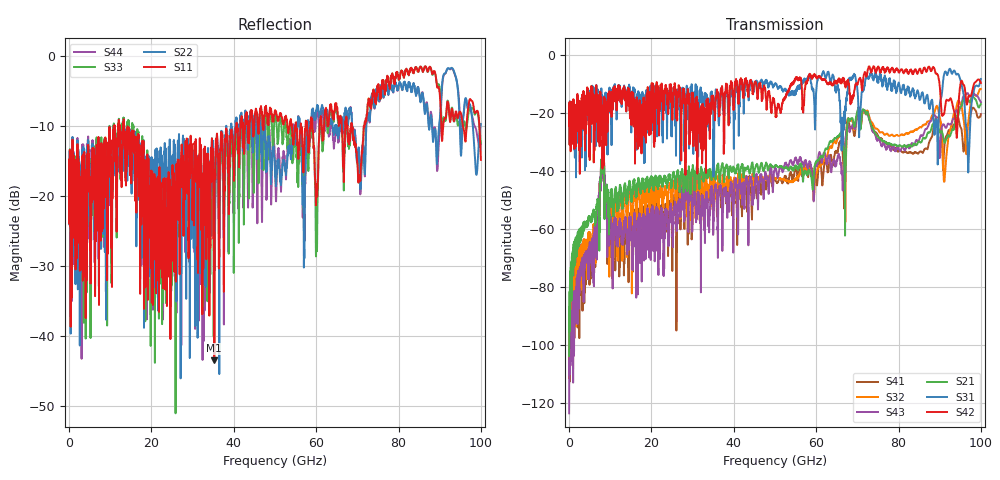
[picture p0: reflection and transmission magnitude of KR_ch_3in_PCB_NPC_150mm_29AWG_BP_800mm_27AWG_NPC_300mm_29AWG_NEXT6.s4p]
# GHz S RI R 45
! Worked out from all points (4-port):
!   4000 points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, 25 MHz to 100 GHz, reference 45 ohm
!   strongest paths, dB at 25 MHz, 25.02 GHz, 50.02 GHz, 75.03 GHz, 100 GHz:
!     S42: -21.3, -17.5, -18.0, -4.3, -9.8
!     S31: -21.3, -21.0, -10.2, -8.9, -8.4
!     S21: -103.8, -43.7, -38.2, -28.3, -17.0
!     S43: -123.6, -58.5, -39.1, -29.6, -16.4
!     S32: -108.9, -53.0, -42.7, -25.9, -11.9
!     S41: -111.4, -67.8, -43.2, -28.0, -20.5
!   lowest |S11| = -43.5 dB at 35.27 GHz (marker M1), VSWR 1.01, Z = 44.4 - j0.0041 ohm
!   |S11| at or under -10 dB: start of sweep to 10.87 GHz; 14.28 GHz to 40.62 GHz (26.34 GHz wide, 96 % of centre); 68.67 GHz to 71.56 GHz (2.899 GHz wide, 4.14 % of centre) (the widest 3 of 36)
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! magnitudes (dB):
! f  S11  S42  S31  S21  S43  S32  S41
! 25 MHz  -16.8  -21.3  -21.3  -103.8  -123.6  -108.9  -111.4
! 8.025 GHz  -24.3  -27.6  -21.1  -40.7  -37.8  -39.3  -38.1
! 10.78 GHz  -10.7  -11.5  -11.7  -55.7  -59.8  -64.1  -59.6
! 35.27 GHz  -43.5  -17.2  -21.4  -39.5  -47.3  -41.9  -42.6
! 91.25 GHz  -8.8  -18.7  -6.0  -30.3  -24.7  -41.6  -30.1
! 96.85 GHz  -7.7  -15.2  -36.6  -15.2  -13.4  -24.4  -23.9
! 100 GHz  -14.8  -9.8  -8.4  -17.0  -16.4  -11.9  -20.5
